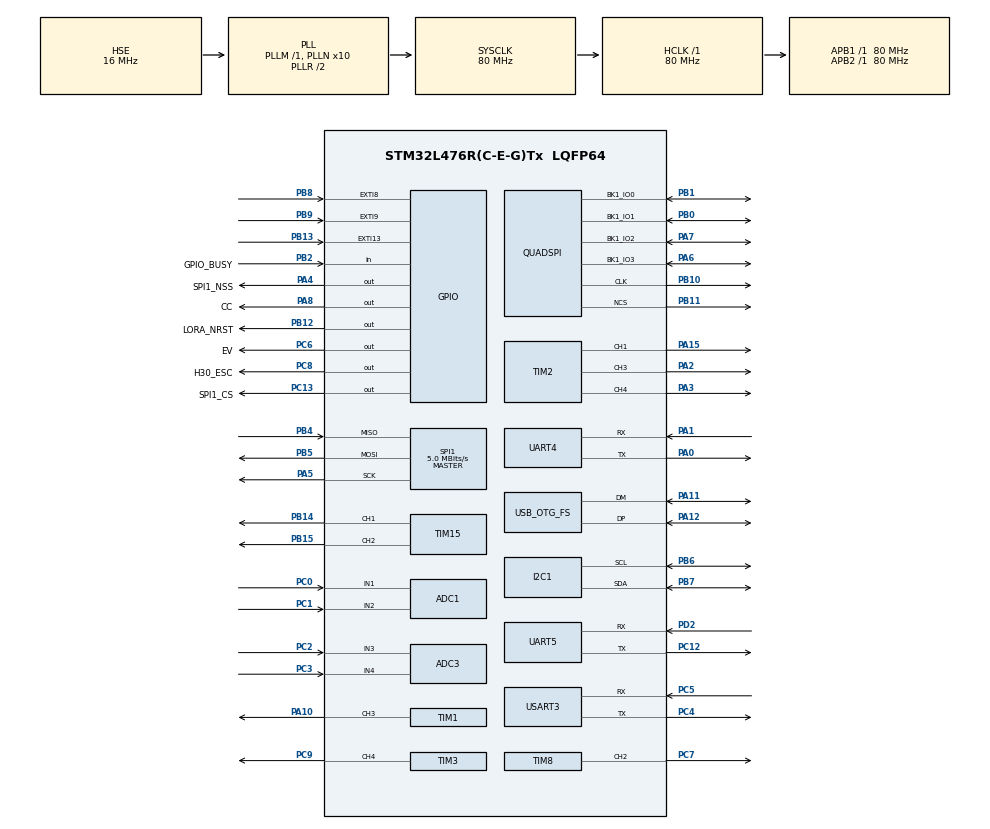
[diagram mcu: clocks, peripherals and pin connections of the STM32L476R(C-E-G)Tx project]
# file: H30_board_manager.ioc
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ADC1.Channel-1\#ChannelRegularConversion=ADC_CHANNEL_1
ADC1.ClockPrescaler=ADC_CLOCK_ASYNC_DIV4
ADC1.NbrOfConversionFlag=1
ADC1.OffsetNumber-1\#ChannelRegularConversion=ADC_OFFSET_NONE
ADC1.Rank-1\#ChannelRegularConversion=1
ADC1.SamplingTime-1\#ChannelRegularConversion=ADC_SAMPLETIME_2CYCLES_5
ADC1.master=1
ADC3.Channel-1\#ChannelRegularConversion=ADC_CHANNEL_3
ADC3.ClockPrescaler=ADC_CLOCK_ASYNC_DIV4
ADC3.NbrOfConversionFlag=1
ADC3.OffsetNumber-1\#ChannelRegularConversion=ADC_OFFSET_NONE
ADC3.Rank-1\#ChannelRegularConversion=1
ADC3.SamplingTime-1\#ChannelRegularConversion=ADC_SAMPLETIME_2CYCLES_5
I2C1.Timing=0x10D19CE4
Mcu.Family=STM32L4
Mcu.Name=STM32L476R(C-E-G)Tx
Mcu.Package=LQFP64
NVIC.OTG_FS_IRQn=true\:0\:0\:false\:false\:true\:false\:true\:true
NVIC.PriorityGroup=NVIC_PRIORITYGROUP_4
NVIC.TIM7_IRQn=true\:0\:0\:false\:false\:true\:true\:true\:true
PA0.Mode=Asynchronous
PA0.Signal=UART4_TX
PA1.Mode=Asynchronous
PA1.Signal=UART4_RX
PA10.Signal=S_TIM1_CH3
PA11.Mode=Device_Only
PA11.Signal=USB_OTG_FS_DM
PA12.Mode=Device_Only
PA12.Signal=USB_OTG_FS_DP
PA13\ (JTMS-SWDIO).Mode=Trace_Asynchronous_SW
PA13\ (JTMS-SWDIO).Signal=SYS_JTMS-SWDIO
PA14\ (JTCK-SWCLK).Mode=Trace_Asynchronous_SW
PA14\ (JTCK-SWCLK).Signal=SYS_JTCK-SWCLK
PA15\ (JTDI).Signal=S_TIM2_CH1
PA2.Signal=S_TIM2_CH3
PA3.Signal=S_TIM2_CH4
PA4.GPIO_Label=SPI1_NSS
PA4.PinState=GPIO_PIN_SET
PA4.Signal=GPIO_Output
PA5.Mode=Full_Duplex_Master
PA5.Signal=SPI1_SCK
PA6.Mode=Single Bank
PA6.Signal=QUADSPI_BK1_IO3
PA7.Mode=Single Bank
PA7.Signal=QUADSPI_BK1_IO2
PA8.GPIO_Label=CC
PA8.Signal=GPIO_Output
PB0.Mode=Single Bank
PB0.Signal=QUADSPI_BK1_IO1
PB1.Mode=Single Bank
PB1.Signal=QUADSPI_BK1_IO0
PB10.Mode=Single Bank
PB10.Signal=QUADSPI_CLK
PB11.Mode=Single Bank
PB11.Signal=QUADSPI_NCS
PB12.GPIO_Label=LORA_NRST
PB12.PinState=GPIO_PIN_SET
PB12.Signal=GPIO_Output
PB13.Signal=GPXTI13
PB14.Signal=S_TIM15_CH1
PB15.Signal=S_TIM15_CH2
PB2.GPIO_Label=GPIO_BUSY
PB2.Signal=GPIO_Input
PB3\ (JTDO-TRACESWO).Mode=Trace_Asynchronous_SW
PB3\ (JTDO-TRACESWO).Signal=SYS_JTDO-SWO
PB4\ (NJTRST).Mode=Full_Duplex_Master
PB4\ (NJTRST).Signal=SPI1_MISO
PB5.Mode=Full_Duplex_Master
PB5.Signal=SPI1_MOSI
PB6.Mode=I2C
PB6.Signal=I2C1_SCL
PB7.Mode=I2C
PB7.Signal=I2C1_SDA
PB8.Signal=GPXTI8
PB9.Signal=GPXTI9
PC0.Signal=ADCx_IN1
PC1.Signal=ADCx_IN2
PC12.Mode=Asynchronous
PC12.Signal=UART5_TX
PC13.GPIO_Label=SPI1_CS
PC13.Signal=GPIO_Output
PC2.Signal=ADCx_IN3
PC3.Signal=ADCx_IN4
PC4.Mode=Asynchronous
PC4.Signal=USART3_TX
PC5.Mode=Asynchronous
PC5.Signal=USART3_RX
PC6.GPIO_Label=EV
PC6.GPIO_ModeDefaultOutputPP=GPIO_MODE_OUTPUT_OD
PC6.GPIO_PuPd=GPIO_NOPULL
PC6.Signal=GPIO_Output
PC7.Signal=S_TIM8_CH2
PC8.GPIO_Label=H30_ESC
PC8.Signal=GPIO_Output
PC9.Signal=S_TIM3_CH4
PD2.Mode=Asynchronous
PD2.Signal=UART5_RX
PH0-OSC_IN\ (PH0).Mode=HSE-External-Oscillator
PH0-OSC_IN\ (PH0).Signal=RCC_OSC_IN
PH1-OSC_OUT\ (PH1).Mode=HSE-External-Oscillator
PH1-OSC_OUT\ (PH1).Signal=RCC_OSC_OUT
ProjectManager.HeapSize=0x200
ProjectManager.StackSize=0x400
ProjectManager.TargetToolchain=STM32CubeIDE
RCC.ADCFreq_Value=48000000
RCC.AHBFreq_Value=80000000
RCC.APB1Freq_Value=80000000
RCC.APB1TimFreq_Value=80000000
RCC.APB2Freq_Value=80000000
RCC.APB2TimFreq_Value=80000000
RCC.CortexFreq_Value=80000000
RCC.HCLKFreq_Value=80000000
RCC.HSE_VALUE=16000000
RCC.HSI_VALUE=16000000
RCC.LSE_VALUE=32768
RCC.MSI_VALUE=4000000
RCC.PLLN=10
RCC.PLLSAI1N=12
RCC.PLLSAI1Q=RCC_PLLQ_DIV4
RCC.PLLSAI1R=RCC_PLLR_DIV4
RCC.PLLSourceVirtual=RCC_PLLSOURCE_HSE
RCC.SYSCLKFreq_VALUE=80000000
RCC.SYSCLKSource=RCC_SYSCLKSOURCE_PLLCLK
RCC.USBFreq_Value=48000000
RCC.VCOOutputFreq_Value=160000000
SH.ADCx_IN1.0=ADC1_IN1,IN1-Single-Ended
SH.ADCx_IN2.0=ADC1_IN2,IN2-Single-Ended
SH.ADCx_IN3.0=ADC3_IN3,IN3-Single-Ended
SH.ADCx_IN4.0=ADC3_IN4,IN4-Single-Ended
SH.S_TIM15_CH1.0=TIM15_CH1,PWM Generation1 CH1
SH.S_TIM15_CH2.0=TIM15_CH2,PWM Generation2 CH2
SH.S_TIM1_CH3.0=TIM1_CH3,PWM Generation3 CH3
SH.S_TIM2_CH1.0=TIM2_CH1,PWM Generation1 CH1
SH.S_TIM2_CH3.0=TIM2_CH3,PWM Generation3 CH3
SH.S_TIM2_CH4.0=TIM2_CH4,PWM Generation4 CH4
SH.S_TIM3_CH4.0=TIM3_CH4,PWM Generation4 CH4
SH.S_TIM8_CH2.0=TIM8_CH2,PWM Generation2 CH2
SPI1.BaudRatePrescaler=SPI_BAUDRATEPRESCALER_16
SPI1.CalculateBaudRate=5.0 MBits/s
SPI1.DataSize=SPI_DATASIZE_8BIT
SPI1.Direction=SPI_DIRECTION_2LINES
SPI1.Mode=SPI_MODE_MASTER
SPI1.NSSPMode=SPI_NSS_PULSE_DISABLE
SPI1.VirtualType=VM_MASTER
TIM1.Channel-PWM\ Generation3\ CH3=TIM_CHANNEL_3
TIM15.Channel-PWM\ Generation1\ CH1=TIM_CHANNEL_1
TIM15.Channel-PWM\ Generation2\ CH2=TIM_CHANNEL_2
TIM2.Channel-PWM\ Generation1\ CH1=TIM_CHANNEL_1
TIM2.Channel-PWM\ Generation3\ CH3=TIM_CHANNEL_3
TIM2.Channel-PWM\ Generation4\ CH4=TIM_CHANNEL_4
TIM3.Channel-PWM\ Generation1\ No\ Output=TIM_CHANNEL_1
TIM3.Channel-PWM\ Generation4\ CH4=TIM_CHANNEL_4
TIM3.Period=100-1
TIM3.Prescaler=16-1
TIM7.AutoReloadPreload=TIM_AUTORELOAD_PRELOAD_ENABLE
TIM7.Period=50000
TIM7.Prescaler=8
TIM8.Channel-PWM\ Generation2\ CH2=TIM_CHANNEL_2
USART3.VirtualMode-Asynchronous=VM_ASYNC
USB_DEVICE.CLASS_NAME_FS=CDC
USB_DEVICE.VirtualMode=Cdc
USB_DEVICE.VirtualModeFS=Cdc_FS
USB_OTG_FS.VirtualMode=Device_Only
VP_TIM3_VS_no_output1.Mode=PWM Generation1 No Output
VP_TIM6_VS_ClockSourceINT.Mode=Enable_Timer
VP_TIM6_VS_OPM.Mode=OPM_bit
VP_TIM7_VS_ClockSourceINT.Mode=Enable_Timer
VP_TIM7_VS_OPM.Mode=OPM_bit
VP_USB_DEVICE_VS_USB_DEVICE_CDC_FS.Mode=CDC_FS
board=custom

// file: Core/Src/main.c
/* USER CODE BEGIN Header */
/**
 ******************************************************************************
 * @file           : main.c
 * @brief          : Main program body
 ******************************************************************************
 * @attention
 *
 * Copyright (c) 2026 STMicroelectronics.
 * All rights reserved.
 *
 * This software is licensed under terms that can be found in the LICENSE file
 * in the root directory of this software component.
 * If no LICENSE file comes with this software, it is provided AS-IS.
 *
 ******************************************************************************
 */
/* USER CODE END Header */
#include "main.h"
#include "adc.h"
#include "i2c.h"
#include "quadspi.h"
#include "spi.h"
#include "tim.h"
#include "usart.h"
#include "usb_device.h"
#include "gpio.h"

/* USER CODE BEGIN Includes */
#include "log.h" //LOG
#include <math.h>

#include "PDMS_I2C.h" //Pression

#include "W25N01G.h" //FLASH

#include "sx1262.h" //LORA
#include "lora_log.h"

/* USER CODE END Includes */

/* USER CODE BEGIN PM */

//--------------------------------------GENERAL STATUS-------------------------------------------
#define XXXRACE //XXXRACE = CC

//--------------------------------------GENERAL TIMING-------------------------------------------
#ifdef RACE
//RACE no CC
#define EV_OPEN_TIME 40
#define EV_CC_WAIT 10000
#define CC_EV_WAIT 5000
#define CC_CLOSE_TIME 7
#else
//REGENERATION HORIZON'S TIMING
//#define EV_OPEN_TIME 500
//#define EV_CC_WAIT 5000
//#define CC_EV_WAIT 5000
//#define CC_CLOSE_TIME 100

#define EV_OPEN_TIME 40
#define EV_CC_WAIT 10000
#define CC_EV_WAIT 5000
#define CC_CLOSE_TIME 7
#endif

#define TEMP_FAN_CRITIQUE  51.0f
#define TEMP_FAN_OK 50.0f
#define AVERAGE_FAN_SPEED 50
#define MAX_FAN_SPEED 100

//--------------------------------------------PIN STATE------------------------------------------------
#define EV_ON()   HAL_GPIO_WritePin(EV_GPIO_Port, EV_Pin, GPIO_PIN_RESET)  // tire à 0
#define EV_OFF()  HAL_GPIO_WritePin(EV_GPIO_Port, EV_Pin, GPIO_PIN_SET)    // relâche

#define H30_ESC_ON()  HAL_GPIO_WritePin(H30_ESC_GPIO_Port, H30_ESC_Pin, GPIO_PIN_SET)
#define H30_ESC_OFF()  HAL_GPIO_WritePin(H30_ESC_GPIO_Port, H30_ESC_Pin, GPIO_PIN_RESET)

//#define CC_ON()  HAL_GPIO_WritePin(CC_GPIO_Port, CC_Pin, GPIO_PIN_SET)
#define CC_OFF()  HAL_GPIO_WritePin(CC_GPIO_Port, CC_Pin, GPIO_PIN_RESET)

/* USER CODE END PM */

/* USER CODE BEGIN PV */
W25N_HandleTypeDef w25n_dev;

/* USER CODE END PV */

void SystemClock_Config(void);
void PeriphCommonClock_Config(void);

/* USER CODE BEGIN 0 */

uint16_t ADC_ReadChannel(ADC_HandleTypeDef *hadc, uint32_t channel){
	ADC_ChannelConfTypeDef sConfig = {0};
	sConfig.Channel = channel;
	sConfig.Rank = ADC_REGULAR_RANK_1;
	sConfig.SamplingTime = ADC_SAMPLETIME_47CYCLES_5;
	sConfig.SingleDiff = ADC_SINGLE_ENDED;
	sConfig.OffsetNumber = ADC_OFFSET_NONE;
	sConfig.Offset = 0;

	if (HAL_ADC_ConfigChannel(hadc, &sConfig) != HAL_OK) {
		LOG_ERROR("ConfigChannel FAIL ch=%lu", channel);
	}

	if (HAL_ADC_Start(hadc) != HAL_OK) {
		LOG_ERROR("ADC_Start FAIL ch=%lu", channel);
	}

	HAL_StatusTypeDef poll = HAL_ADC_PollForConversion(hadc, 100);
	if (poll != HAL_OK) {
		LOG_ERROR("PollForConversion FAIL/TIMEOUT ch=%lu status=%d", channel, poll);
	}

	uint16_t data = HAL_ADC_GetValue(hadc);
	HAL_ADC_Stop(hadc);
	return data;
}

void ADC_Init(){
	if (HAL_ADCEx_Calibration_Start(&hadc1, ADC_SINGLE_ENDED) != HAL_OK)
	{
		LOG_ERROR("ADC1 calibration FAILED");
		Error_Handler();
	}
	if (HAL_ADCEx_Calibration_Start(&hadc3, ADC_SINGLE_ENDED) != HAL_OK)
	{
		LOG_ERROR("ADC3 calibration FAILED");
		Error_Handler();
	}
}

void I2C_Scan(void){
	LOG("---- I2C SCAN START ----");
	uint8_t found = 0;

	for (uint8_t addr = 1; addr < 128; addr++){
		// HAL attend l'adresse déjà décalée (bit 0 = R/W), donc <<1
		HAL_StatusTypeDef res = HAL_I2C_IsDeviceReady(&hi2c1, (uint16_t)(addr << 1), 2, 10);

		if (res == HAL_OK){
			LOG_INFO("I2C device found at 0x%02X", addr);
			found++;
		}
	}

	if (found == 0){
		LOG_WARN("No I2C device found");
	} else {
		LOG_INFO("I2C scan done, %u device(s) found", found);
	}
	LOG("---- I2C SCAN END ----");
}

void PWM_SetFreq(TIM_HandleTypeDef *htim, uint32_t channel, uint32_t freq){
	uint32_t psc = 79; // timer à 1 MHz
	uint32_t arr = (1000000 / freq) - 1;

	__HAL_TIM_SET_PRESCALER(htim, psc);
	__HAL_TIM_SET_AUTORELOAD(htim, arr);
	__HAL_TIM_SET_COMPARE(htim, channel, arr / 2);

	htim->Instance->EGR = TIM_EGR_UG;
}

void PWM_SetDuty(TIM_HandleTypeDef *htim,uint32_t channel, uint8_t duty_percent){
	uint32_t arr = __HAL_TIM_GET_AUTORELOAD(htim);

	__HAL_TIM_SET_COMPARE( htim, channel, (arr * duty_percent) / 100);
}

void FanA_SetSpeed(uint8_t speed){
	PWM_SetDuty(&htim8, TIM_CHANNEL_2, 0); // AIN1 PWM
	PWM_SetDuty(&htim3, TIM_CHANNEL_4, speed);     // AIN2 = 0
}

void FanB_SetSpeed(uint8_t speed){
	PWM_SetDuty(&htim15, TIM_CHANNEL_1, speed); // BIN1 PWM
	PWM_SetDuty(&htim15, TIM_CHANNEL_2, 0);     // BIN2 = 0
}

void FAN_Init(void){
	HAL_TIM_PWM_Start(&htim8, TIM_CHANNEL_2);   // AIN1
	HAL_TIM_PWM_Start(&htim3, TIM_CHANNEL_4);   // AIN2
	HAL_TIM_PWM_Start(&htim15, TIM_CHANNEL_1);  // BIN1
	HAL_TIM_PWM_Start(&htim15, TIM_CHANNEL_2);  // BIN2

	PWM_SetFreq(&htim8,  TIM_CHANNEL_2, 25000);
	PWM_SetFreq(&htim3,  TIM_CHANNEL_4, 25000);
	PWM_SetFreq(&htim15, TIM_CHANNEL_1, 25000);
	PWM_SetFreq(&htim15, TIM_CHANNEL_2, 25000);
}

void RGB_Init(void){
	HAL_TIM_PWM_Start(&htim2, TIM_CHANNEL_1);
	HAL_TIM_PWM_Start(&htim2, TIM_CHANNEL_3);
	HAL_TIM_PWM_Start(&htim2, TIM_CHANNEL_4);

	PWM_SetFreq(&htim2, TIM_CHANNEL_1, 1000); //1KHz
	PWM_SetFreq(&htim2, TIM_CHANNEL_3, 1000);
	PWM_SetFreq(&htim2, TIM_CHANNEL_4, 1000);

	//BLINK
	RGB_Set(255,0,0); //rouge
	HAL_Delay(200);
	RGB_Set(0,255,0); //vert
	HAL_Delay(200);
	RGB_Set(0,0,255); //Bleu
	HAL_Delay(200);
	RGB_Set(255,60,0); //Orange
	HAL_Delay(200);
	RGB_Set(0,0,0);
}

void RGB_Set(uint8_t r, uint8_t g, uint8_t b){

	if (r == 0 && g == 0 && b == 0)
	{
		HAL_TIM_PWM_Stop(&htim2, TIM_CHANNEL_1);
		HAL_TIM_PWM_Stop(&htim2, TIM_CHANNEL_3);
		HAL_TIM_PWM_Stop(&htim2, TIM_CHANNEL_4);
		return;
	}

	HAL_TIM_PWM_Start(&htim2, TIM_CHANNEL_1);
	HAL_TIM_PWM_Start(&htim2, TIM_CHANNEL_3);
	HAL_TIM_PWM_Start(&htim2, TIM_CHANNEL_4);

	// COMMON ANODE
	uint32_t arr = __HAL_TIM_GET_AUTORELOAD(&htim2);

	__HAL_TIM_SET_COMPARE(&htim2, TIM_CHANNEL_1, arr - ((uint32_t)arr * r) / 255);
	__HAL_TIM_SET_COMPARE(&htim2, TIM_CHANNEL_3, arr - ((uint32_t)arr * g) / 255);
	__HAL_TIM_SET_COMPARE(&htim2, TIM_CHANNEL_4, arr - ((uint32_t)arr * b) / 255);

	// COMMON CATHODE
	//	__HAL_TIM_SET_COMPARE(&htim2, TIM_CHANNEL_1, ((uint32_t)arr * r) / 255);
	//	__HAL_TIM_SET_COMPARE(&htim2, TIM_CHANNEL_3, ((uint32_t)arr * g) / 255);
	//	__HAL_TIM_SET_COMPARE(&htim2, TIM_CHANNEL_4, ((uint32_t)arr * b) / 255);
}

void Board_Init(){
	EV_OFF();
	CC_OFF();
	H30_ESC_ON();
}

void HAL_GPIO_EXTI_Callback(uint16_t GPIO_Pin)
{
	if (GPIO_Pin == GPIO_PIN_13)//EXTI
	{
		SX1262_OnDio1Irq();
	}
}

void CC_ON(){

    __HAL_TIM_SET_AUTORELOAD(&htim7, 50000); //permet de choisir dynamique la valeur que le compteur doit attendre : temps = counter_value
    __HAL_TIM_SET_COUNTER(&htim7, 0); // initialisation du compteur à 0
    HAL_GPIO_WritePin(CC_GPIO_Port, CC_Pin, GPIO_PIN_SET);
	HAL_TIM_Base_Start_IT(&htim7); // démarrage du timer
}

void HAL_TIM_PeriodElapsedCallback(TIM_HandleTypeDef *htim){ // Fonction à ajouter absolument
	UNUSED(htim);
    if(htim->Instance == TIM7){ // Selection du timer
    	CC_OFF(); //Appeler ici votre fonction
    	HAL_TIM_Base_Stop_IT(&htim7); // arrêt de l'interruption et desactivation du timer
    }
}

/* USER CODE END 0 */

int main(void)
{

  /* MCU Configuration--------------------------------------------------------*/

  /* Reset of all peripherals, Initializes the Flash interface and the Systick. */
  HAL_Init();

  /* Configure the system clock */
  SystemClock_Config();

  /* Configure the peripherals common clocks */
  PeriphCommonClock_Config();

  /* Initialize all configured peripherals */
  MX_GPIO_Init();
  MX_USB_DEVICE_Init();
  MX_ADC1_Init();
  MX_ADC3_Init();
  MX_I2C1_Init();
  MX_QUADSPI_Init();
  MX_SPI1_Init();
  MX_TIM1_Init();
  MX_TIM2_Init();
  MX_TIM3_Init();
  MX_UART4_Init();
  MX_USART3_UART_Init();
  MX_UART5_Init();
  MX_TIM8_Init();
  MX_TIM15_Init();
  MX_TIM7_Init();
  MX_TIM6_Init();
  /* USER CODE BEGIN 2 */

	//LED
	RGB_Init();

	//Fans
	FAN_Init();
	FanA_SetSpeed(AVERAGE_FAN_SPEED);
	FanB_SetSpeed(AVERAGE_FAN_SPEED);

	//I2C
	I2C_Scan();

	LOG("==== TEST W25N01G JEDEC ID ====");

	W25N_StatusTypeDef w25n_st = W25N_Init(&w25n_dev, &hqspi);

	if (w25n_st == W25N_OK) {
		LOG_INFO("W25N01G init OK - JEDEC ID match");
	} else {
		LOG_ERROR("W25N01G init FAILED, code=%d", w25n_st);

		// Diagnostic supplémentaire : lis le JEDEC ID brut même si le check a échoué
		uint8_t mfr = 0;
		uint16_t devid = 0;
		W25N_StatusTypeDef id_st = W25N_ReadJedecId(&w25n_dev, &mfr, &devid);
		if (id_st == W25N_OK) {
			LOG_INFO("RAW JEDEC: Manufacturer=0x%02X DeviceID=0x%04X", mfr, devid);
		} else {
			LOG_ERROR("ReadJedecId call FAILED, code=%d", id_st);
		}
	}
	LOG("==== FIN TEST ====");

	//SX1262 Init
	if (SX1262_InitDefault() != SX1262_OK){
		LOG_ERROR("Init SX1262_OK");
	}

	//ADC Init
	ADC_Init();

	//PDMS Init
	WE_pdmsI2cInit();

	//Board Init
	Board_Init();

	uint32_t t_ev = 0;
	uint32_t t_cc = 0;
	uint32_t t_end = 0;
	uint32_t t_temp =0;
	uint8_t state = 0;

	uint8_t Fan_warn = 0;

	float presskPa;
	float tempDegC;

	//Start sound
	HAL_TIM_PWM_Start(&htim1, TIM_CHANNEL_3);
	PWM_SetFreq(&htim1,TIM_CHANNEL_3, 523);  // note Do
	HAL_Delay(300);
	PWM_SetFreq(&htim1,TIM_CHANNEL_3, 440);  // note La
	HAL_Delay(300);
	PWM_SetFreq(&htim1,TIM_CHANNEL_3, 659);  // note Mi
	HAL_Delay(300);
	HAL_TIM_PWM_Stop(&htim1, TIM_CHANNEL_3);

  /* USER CODE END 2 */

  /* Infinite loop */
	while (1)
	{

    /* USER CODE BEGIN 3 */

		uint32_t now = HAL_GetTick();

		/* ---------------- EV ON / OFF ---------------- */
		if (state == 0) {
			LOG_INFO("EV ON");
			EV_ON();
			t_ev = now;
			state = 1;
		}

		if (state == 1 && (now - t_ev) > EV_OPEN_TIME) {
			LOG_INFO("EV OFF");
			EV_OFF();
			t_ev = now;
			state = 2;
		}

		/* attente 5s */
		if (state == 2 && (now - t_ev) > EV_CC_WAIT) {
			state = 3;
		}

		/* ---------------- H30 / CC pulse ---------------- */
		if (state == 3) {

#ifndef RACE
			LOG_INFO("H30->ESC OFF");
			H30_ESC_OFF();

			LOG_INFO("CC ON");
			CC_ON();
#else
			LOG_INFO("RACE MODE : CC skipped");
#endif

			t_cc = now;
			state = 4;
		}

		if (state == 4 && (now - t_cc) > CC_CLOSE_TIME) {
#ifndef RACE
			LOG_INFO("CC OFF");
			CC_OFF();

			LOG_INFO("H30->ESC ON");
			H30_ESC_ON();
#endif

			t_end = now;
			state = 5;
		}

		/* attente 5s */
		if (state == 5 && (now - t_end) > CC_EV_WAIT) {
			state = 0;
		}

		//Temperature Lecture
		uint16_t adc_in1 = ADC_ReadChannel(&hadc1,ADC_CHANNEL_1);
		uint16_t adc_in2 = ADC_ReadChannel(&hadc1, ADC_CHANNEL_2);
		float Temp_1 = 1.0f / ((1.0f/298.15f) + (1.0f/3950.0f) * logf((adc_in1/(4095.0f-adc_in1)))) - 273.15f;
		float Temp_2 = 1.0f / ((1.0f/298.15f) + (1.0f/3950.0f) * logf((adc_in2/(4095.0f-adc_in2)))) - 273.15f;

		//Tension XT60
		uint16_t adc_in3 = ADC_ReadChannel(&hadc3, ADC_CHANNEL_4);
		uint32_t v_pc3_mv = (3300UL * adc_in3) / 4095UL;
		uint32_t v_source_mv = (v_pc3_mv * (100UL + 20UL)) / 20UL;

		//Tension H30
		uint16_t adc_in4 = ADC_ReadChannel(&hadc3, ADC_CHANNEL_3);
		uint32_t v_adc3ch3_mv = (3300UL * adc_in4) / 4095UL;
		uint32_t v_source4_mv = (v_adc3ch3_mv * (100UL + 20UL)) / 20UL;

		//FAN warning
		if (Temp_1>TEMP_FAN_CRITIQUE || Temp_2 >TEMP_FAN_CRITIQUE){
			if(Temp_1 >50.0f)	LOG_WARN("Temperature 1 > 50 degres");
			if(Temp_2 >50.0f)	LOG_WARN("Temperature 2 > 50 degres");
			Fan_warn =1;
			FanA_SetSpeed(MAX_FAN_SPEED);
			FanB_SetSpeed(MAX_FAN_SPEED);

		}else if (Fan_warn==1 && Temp_1<TEMP_FAN_OK && Temp_2<TEMP_FAN_OK){
			FanA_SetSpeed(AVERAGE_FAN_SPEED);
			FanB_SetSpeed(AVERAGE_FAN_SPEED);
			Fan_warn =0;
		}

		if ((HAL_GetTick() - t_temp) >= 20){
			t_temp = HAL_GetTick();

			//Pression PDMS
			Get_pdms(&presskPa, &tempDegC);

			//LOG_INFO("NTC_VERT %lu mV", (3300UL * adc_in1) / 4095UL);
			LOG_INFO("Temp_1 %ld.%ld C",((int32_t)(Temp_1 * 10.0f)) / 10,labs(((int32_t)(Temp_1 * 10.0f)) % 10));
			//LOG_INFO("NTC_BLANC %lu mV", (3300UL * adc_in2) / 4095UL);
			LOG_INFO("Temp_2 %ld.%ld C",((int32_t)(Temp_2 * 10.0f)) / 10,labs(((int32_t)(Temp_2 * 10.0f)) % 10));

			LOG_INFO("Tension XT60%lu mV", v_source_mv);
			LOG_INFO("Tension H30 %lu mV", v_source4_mv);

			LOG_INFO("Pression = %.2f uPa", presskPa);
			LOG_INFO("Temp_tube = %.2f C", tempDegC);

			char msg[64];

			int32_t t1_i = (int32_t)(Temp_1 * 10.0f) / 10;
			int32_t t1_d = labs((int32_t)(Temp_1 * 10.0f) % 10);

			int32_t t2_i = (int32_t)(Temp_2 * 10.0f) / 10;
			int32_t t2_d = labs((int32_t)(Temp_2 * 10.0f) % 10);

			int32_t p_i  = (int32_t)(presskPa * 100.0f) / 100;
			int32_t p_d  = labs((int32_t)(presskPa * 100.0f) % 100);

			int32_t tt_i = (int32_t)(tempDegC * 100.0f) / 100;
			int32_t tt_d = labs((int32_t)(tempDegC * 100.0f) % 100);

			LORA("T1:%ld.%ld;T2:%ld.%ld;U1:%lu;U2:%lu;P:%ld.%02ld;Tt:%ld.%02ld",
					t1_i, t1_d,
					t2_i, t2_d,
					(unsigned long)v_source_mv,
					(unsigned long)v_source4_mv,
					p_i, p_d,
					tt_i, tt_d);

			SX1262_Result_t ret = SX1262_TransmitText64(msg, 25);
			if (ret == SX1262_OK){
				LOG_INFO("Transmit data OK");
			}else{
				LOG_ERROR("Erreur Transmit data code=%d", ret);
			}

			//LORA("RANDOM:%d",10); //pas d espace ; pas d espace

		}
	}

  /* USER CODE END 3 */
}

void SystemClock_Config(void)
{
  RCC_OscInitTypeDef RCC_OscInitStruct = {0};
  RCC_ClkInitTypeDef RCC_ClkInitStruct = {0};

  /** Configure the main internal regulator output voltage
  */
  if (HAL_PWREx_ControlVoltageScaling(PWR_REGULATOR_VOLTAGE_SCALE1) != HAL_OK)
  {
    Error_Handler();
  }

  /** Initializes the RCC Oscillators according to the specified parameters
  * in the RCC_OscInitTypeDef structure.
  */
  RCC_OscInitStruct.OscillatorType = RCC_OSCILLATORTYPE_HSE;
  RCC_OscInitStruct.HSEState = RCC_HSE_ON;
  RCC_OscInitStruct.PLL.PLLState = RCC_PLL_ON;
  RCC_OscInitStruct.PLL.PLLSource = RCC_PLLSOURCE_HSE;
  RCC_OscInitStruct.PLL.PLLM = 1;
  RCC_OscInitStruct.PLL.PLLN = 10;
  RCC_OscInitStruct.PLL.PLLP = RCC_PLLP_DIV7;
  RCC_OscInitStruct.PLL.PLLQ = RCC_PLLQ_DIV2;
  RCC_OscInitStruct.PLL.PLLR = RCC_PLLR_DIV2;
  if (HAL_RCC_OscConfig(&RCC_OscInitStruct) != HAL_OK)
  {
    Error_Handler();
  }

  /** Initializes the CPU, AHB and APB buses clocks
  */
  RCC_ClkInitStruct.ClockType = RCC_CLOCKTYPE_HCLK|RCC_CLOCKTYPE_SYSCLK
                              |RCC_CLOCKTYPE_PCLK1|RCC_CLOCKTYPE_PCLK2;
  RCC_ClkInitStruct.SYSCLKSource = RCC_SYSCLKSOURCE_PLLCLK;
  RCC_ClkInitStruct.AHBCLKDivider = RCC_SYSCLK_DIV1;
  RCC_ClkInitStruct.APB1CLKDivider = RCC_HCLK_DIV1;
  RCC_ClkInitStruct.APB2CLKDivider = RCC_HCLK_DIV1;

  if (HAL_RCC_ClockConfig(&RCC_ClkInitStruct, FLASH_LATENCY_4) != HAL_OK)
  {
    Error_Handler();
  }
}

void PeriphCommonClock_Config(void)
{
  RCC_PeriphCLKInitTypeDef PeriphClkInit = {0};

  /** Initializes the peripherals clock
  */
  PeriphClkInit.PeriphClockSelection = RCC_PERIPHCLK_USB|RCC_PERIPHCLK_ADC;
  PeriphClkInit.AdcClockSelection = RCC_ADCCLKSOURCE_PLLSAI1;
  PeriphClkInit.UsbClockSelection = RCC_USBCLKSOURCE_PLLSAI1;
  PeriphClkInit.PLLSAI1.PLLSAI1Source = RCC_PLLSOURCE_HSE;
  PeriphClkInit.PLLSAI1.PLLSAI1M = 1;
  PeriphClkInit.PLLSAI1.PLLSAI1N = 12;
  PeriphClkInit.PLLSAI1.PLLSAI1P = RCC_PLLP_DIV7;
  PeriphClkInit.PLLSAI1.PLLSAI1Q = RCC_PLLQ_DIV4;
  PeriphClkInit.PLLSAI1.PLLSAI1R = RCC_PLLR_DIV4;
  PeriphClkInit.PLLSAI1.PLLSAI1ClockOut = RCC_PLLSAI1_48M2CLK|RCC_PLLSAI1_ADC1CLK;
  if (HAL_RCCEx_PeriphCLKConfig(&PeriphClkInit) != HAL_OK)
  {
    Error_Handler();
  }
}

void Error_Handler(void)
{
	__disable_irq();
	while (1)
	{
	}
}
